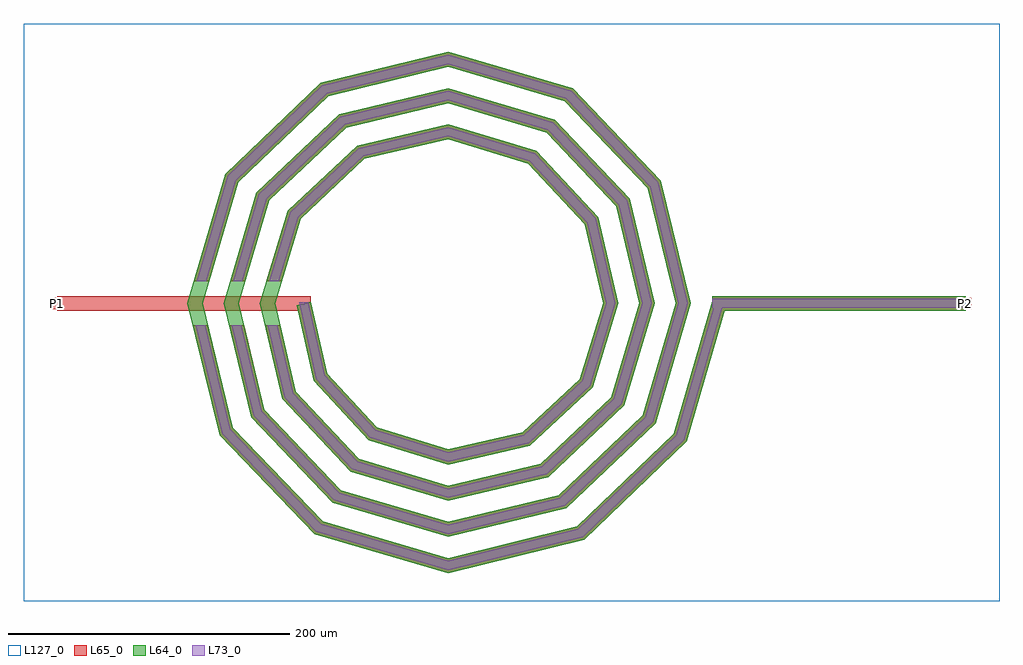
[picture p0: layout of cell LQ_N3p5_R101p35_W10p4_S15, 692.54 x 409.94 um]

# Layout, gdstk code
import gdstk
lib = gdstk.Library(unit=1e-6, precision=1e-09)
def R(c, l, rs):  # rectangles x0, y0, x1, y1
    for r in rs: c.add(gdstk.rectangle(r[:2], r[2:], *l))
def P(c, l, *ps):  # polygons
    for p in ps: c.add(gdstk.Polygon(p, *l))
L64_0 = (64, 0)
L65_0 = (65, 0)
L73_0 = (73, 0)
L127_0 = (127, 0)

lq_n3p5_r101p35_w10p4_s1 = lib.new_cell('LQ_N3p5_R101p35_W10p4_S15')
R(lq_n3p5_r101p35_w10p4_s1, L64_0, [(187.232,-5.2,367.232,5.2)])
P(lq_n3p5_r101p35_w10p4_s1, L64_0, [(-85.87,-49.814),(-50.533,-87.928),(0.197,-103.555),(53.015,-91.438),(93.484,-53.754),(109.977,0.186),(97.006,56.217),(56.974,99.041),(0.177,116.4),(-59.421,102.572),(-104.598,60.193),(-122.822,0.168),(-108.139,-62.625),(-63.411,-110.157),(0.16,-129.245),(65.829,-113.705),(115.715,-66.629),(135.668,0.152),(119.271,69.034),(69.847,121.274),(0.146,142.09),(-72.24,124.836),(-126.833,73.063),(-148.513,0.14),(-130.401,-75.446),(-76.28,-132.392),(0.134,-154.936),(78.653,-135.966),(137.952,-79.496),(161.358,0.129),(141.531,81.86),(82.711,143.511),(0.124,167.781),(-85.067,147.096),(-149.072,85.927),(-174.204,0.12),(-152.66,-88.275),(-89.142,-154.632),(0.116,-180.627),(91.483,-158.224),(160.192,-92.356),(187.438,1.45),(197.425,-1.45),(169.402,-97.934),(96.667,-167.661),(0.116,-191.391),(-94.726,-163.837),(-162.101,-93.452),(-184.968,0.12),(-158.273,91.519),(-90.237,156.54),(0.124,178.546),(88.311,152.708),(150.98,87.022),(172.123,0.129),(147.143,-85.104),(83.806,-145.42),(0.134,-165.7),(-81.897,-141.578),(-139.861,-80.59),(-159.277,0.14),(-136.013,78.691),(-77.373,134.301),(0.146,152.854),(75.485,130.447),(128.742,74.156),(146.431,0.152),(124.881,-72.279),(70.938,-123.183),(0.16,-140.008),(-69.074,-119.315),(-117.624,-67.72),(-133.585,0.168),(-113.748,65.87),(-64.501,112.066),(0.177,127.162),(62.666,108.181),(106.508,61.281),(120.739,0.186),(102.614,-59.463),(58.061,-100.951),(0.197,-114.315),(-56.262,-97.045),(-95.394,-54.839),(-107.583,-1.151),(-97.441,1.151)])
R(lq_n3p5_r101p35_w10p4_s1, L65_0, [(-277.312,-5.2,-97.312,5.2), (187.232,-5.2,367.232,5.2), (-281.312,-4,-273.312,4), (363.232,-4,371.232,4)])
P(lq_n3p5_r101p35_w10p4_s1, L65_0, [(-152.66,-88.275),(-89.142,-154.632),(0.116,-180.627),(91.483,-158.224),(160.192,-92.356),(187.438,1.45),(197.425,-1.45),(169.402,-97.935),(96.667,-167.661),(0.116,-191.391),(-94.727,-163.837),(-162.101,-93.452),(-181.127,-15.6),(-170.421,-15.6)],
  [(-130.401,-75.446),(-76.28,-132.392),(0.134,-154.936),(78.653,-135.966),(137.952,-79.496),(161.358,0.129),(141.531,81.86),(82.711,143.512),(0.124,167.781),(-85.067,147.096),(-149.072,85.927),(-169.612,15.6),(-180.447,15.6),(-158.273,91.519),(-90.237,156.54),(0.124,178.546),(88.311,152.708),(150.98,87.022),(172.123,0.129),(147.143,-85.104),(83.806,-145.421),(0.134,-165.7),(-81.897,-141.578),(-139.861,-80.59),(-155.491,-15.6),(-144.795,-15.6)],
  [(-108.139,-62.625),(-63.412,-110.157),(0.16,-129.245),(65.829,-113.705),(115.715,-66.629),(135.668,0.152),(119.271,69.034),(69.847,121.274),(0.146,142.09),(-72.24,124.836),(-126.833,73.063),(-143.851,15.6),(-154.698,15.6),(-136.013,78.691),(-77.373,134.301),(0.146,152.854),(75.485,130.447),(128.742,74.156),(146.431,0.152),(124.881,-72.279),(70.938,-123.183),(0.16,-140.008),(-69.074,-119.315),(-117.625,-67.72),(-129.878,-15.6),(-119.194,-15.6)],
  [(-50.533,-87.928),(0.197,-103.555),(53.015,-91.438),(93.484,-53.754),(109.977,0.186),(97.006,56.218),(56.974,99.041),(0.177,116.4),(-59.421,102.573),(-104.599,60.193),(-118.062,15.6),(-128.926,15.6),(-113.748,65.87),(-64.501,112.066),(0.177,127.162),(62.666,108.181),(106.508,61.281),(120.739,0.186),(102.614,-59.463),(58.061,-100.951),(0.197,-114.315),(-56.262,-97.045),(-95.394,-54.839),(-107.583,-1.151),(-97.441,1.151),(-85.87,-49.815)])
R(lq_n3p5_r101p35_w10p4_s1, L73_0, [(187.232,-3.2,367.232,3.2)])
P(lq_n3p5_r101p35_w10p4_s1, L73_0, [(-154.475,-89.271),(-90.216,-156.402),(0.071,-182.697),(92.48,-160.039),(161.963,-93.429),(189.359,0.893),(195.505,0.893),(167.63,-96.862),(95.67,-165.846),(0.071,-189.321),(-93.653,-162.067),(-160.285,-92.457),(-179.068,-15.6),(-172.48,-15.6)],
  [(-132.22,-76.435),(-77.36,-134.159),(0.083,-157.006),(79.644,-137.784),(139.719,-80.574),(163.428,0.079),(143.348,82.853),(83.788,145.28),(0.076,169.851),(-86.061,148.912),(-150.841,87.002),(-171.696,15.6),(-178.363,15.6),(-156.503,90.443),(-89.243,154.724),(0.076,176.476),(87.234,150.939),(149.163,86.029),(170.053,0.079),(145.376,-84.025),(82.815,-143.602),(0.083,-163.63),(-80.817,-139.812),(-138.042,-79.6),(-153.434,-15.6),(-146.852,-15.6)],
  [(-109.963,-63.604),(-64.5,-111.918),(0.098,-131.315),(66.812,-115.528),(117.478,-67.716),(137.738,0.094),(121.092,70.019),(70.931,123.038),(0.09,144.16),(-73.227,126.656),(-128.598,74.146),(-145.937,15.6),(-152.612,15.6),(-134.247,77.608),(-76.386,132.481),(0.09,150.784),(74.4,128.683),(126.921,73.171),(144.361,0.094),(123.119,-71.193),(69.956,-121.36),(0.098,-137.938),(-67.985,-117.554),(-115.8,-66.74),(-127.823,-15.6),(-121.249,-15.6)],
  [(-51.634,-89.681),(0.121,-105.624),(53.986,-93.268),(95.24,-54.852),(112.047,0.115),(98.833,57.191),(58.069,100.799),(0.109,118.469),(-60.398,104.398),(-106.358,61.285),(-120.151,15.6),(-126.836,15.6),(-111.989,64.778),(-63.524,110.241),(0.109,125.092),(61.571,106.424),(104.681,60.308),(118.669,0.115),(100.858,-58.365),(57.09,-99.122),(0.121,-112.246),(-55.16,-95.292),(-93.563,-53.873),(-105.633,0.709),(-99.392,0.709),(-87.702,-50.781)])
R(lq_n3p5_r101p35_w10p4_s1, L127_0, [(-301.312,-211.391,391.232,198.546)])
lq_n3p5_r101p35_w10p4_s1.add(gdstk.Label('P2', (367.232,0), layer=65, texttype=0))
lq_n3p5_r101p35_w10p4_s1.add(gdstk.Label('P1', (-277.312,0), layer=65, texttype=0))
lq_n3p5_r101p35_w10p4_s1.add(gdstk.Label('P2', (371.232,0), layer=145, texttype=0))
lq_n3p5_r101p35_w10p4_s1.add(gdstk.Label('P1', (-281.312,0), layer=145, texttype=0))

lib.write_gds('LQ_N3p5_R101p35_W10p4_S15.gds')
